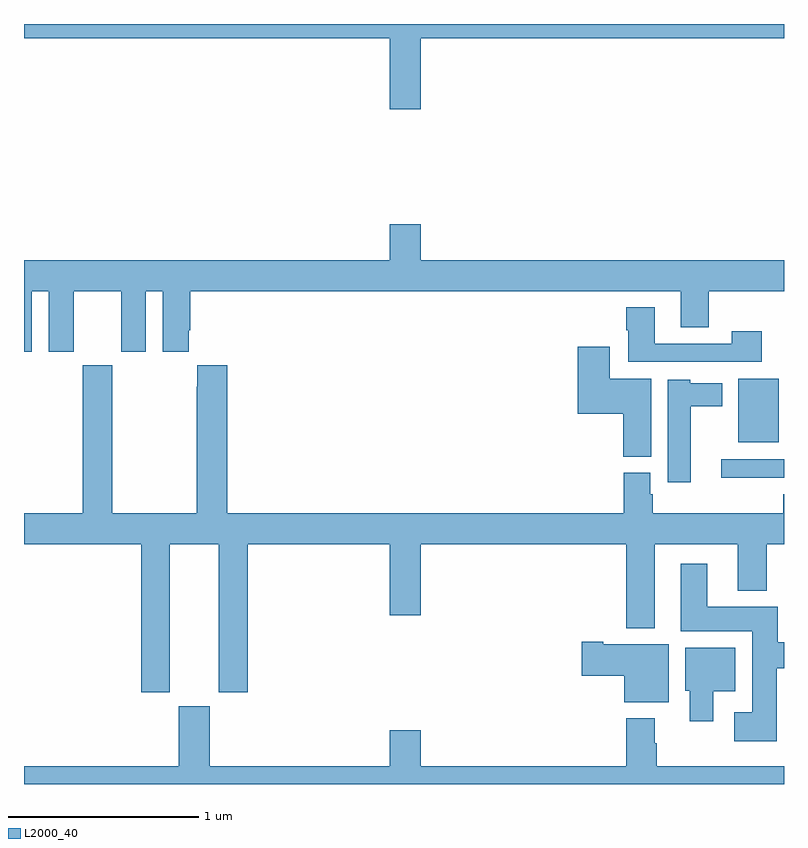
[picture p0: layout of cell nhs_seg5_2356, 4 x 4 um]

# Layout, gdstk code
import gdstk
lib = gdstk.Library(unit=1e-6, precision=1e-09)
def R(c, l, rs):  # rectangles x0, y0, x1, y1
    for r in rs: c.add(gdstk.rectangle(r[:2], r[2:], *l))
def P(c, l, *ps):  # polygons
    for p in ps: c.add(gdstk.Polygon(p, *l))
L2000_40 = (2000, 40)

nhs_seg5_2356 = lib.new_cell('nhs_seg5_2356')
R(nhs_seg5_2356, L2000_40, [(250.671,890.411,251,890.508), (250.76,890.597,250.972,890.932)])
P(nhs_seg5_2356, L2000_40, [(249.088,892.724),(251,892.724),(251,892.799),(247,892.799),(247,892.724),(248.924,892.724),(248.924,892.35),(249.088,892.35)],
  [(247.042,891.392),(247.13,891.392),(247.13,891.075),(247.261,891.075),(247.261,891.392),(247.511,891.392),(247.511,891.075),(247.642,891.075),(247.642,891.392),(247.73,891.392),(247.73,891.075),(247.867,891.075),(247.867,891.187),(247.874,891.187),(247.874,891.392),(250.457,891.392),(250.457,891.202),(250.605,891.202),(250.605,891.392),(251,891.392),(251,891.556),(249.088,891.556),(249.088,891.745),(248.924,891.745),(248.924,891.556),(247,891.556),(247,891.075),(247.042,891.075)],
  [(250.882,891.181),(250.726,891.181),(250.726,891.117),(250.321,891.117),(250.321,891.307),(250.169,891.307),(250.169,891.187),(250.181,891.187),(250.181,891.021),(250.882,891.021)],
  [(250.3,890.932),(250.084,890.932),(250.084,891.1),(249.914,891.1),(249.914,890.747),(250.154,890.747),(250.154,890.521),(250.3,890.521)],
  [(247.768,890.06),(248.024,890.06),(248.024,889.281),(248.177,889.281),(248.177,890.06),(248.924,890.06),(248.924,889.686),(249.088,889.686),(249.088,890.06),(250.169,890.06),(250.169,889.619),(250.321,889.619),(250.321,890.06),(250.757,890.06),(250.757,889.817),(250.91,889.817),(250.91,890.06),(251,890.06),(251,890.323),(250.997,890.323),(250.997,890.224),(250.31,890.224),(250.31,890.325),(250.297,890.325),(250.297,890.436),(250.157,890.436),(250.157,890.224),(248.069,890.224),(248.069,891.004),(247.913,891.004),(247.913,890.891),(247.909,890.891),(247.909,890.224),(247.464,890.224),(247.464,891.004),(247.309,891.004),(247.309,890.224),(247,890.224),(247,890.06),(247.616,890.06),(247.616,889.281),(247.768,889.281)],
  [(250.51,890.786),(250.675,890.786),(250.675,890.908),(250.506,890.908),(250.506,890.926),(250.388,890.926),(250.388,890.388),(250.51,890.388)],
  [(250.962,889.408),(251,889.408),(251,889.544),(250.967,889.544),(250.967,889.732),(250.597,889.732),(250.597,889.957),(250.457,889.957),(250.457,889.604),(250.832,889.604),(250.832,889.177),(250.737,889.177),(250.737,889.025),(250.962,889.025)],
  [(250.393,889.534),(250.048,889.534),(250.048,889.547),(249.936,889.547),(249.936,889.369),(250.16,889.369),(250.16,889.229),(250.393,889.229)],
  [(250.627,889.286),(250.744,889.286),(250.744,889.516),(250.481,889.516),(250.481,889.29),(250.505,889.29),(250.505,889.128),(250.627,889.128)],
  [(251,888.892),(250.329,888.892),(250.329,889.013),(250.321,889.013),(250.321,889.144),(250.169,889.144),(250.169,888.892),(249.088,888.892),(249.088,889.081),(248.924,889.081),(248.924,888.892),(247.978,888.892),(247.978,889.209),(247.814,889.209),(247.814,888.892),(247,888.892),(247,888.799),(251,888.799)])

lib.write_gds('nhs_seg5_2356.gds')
